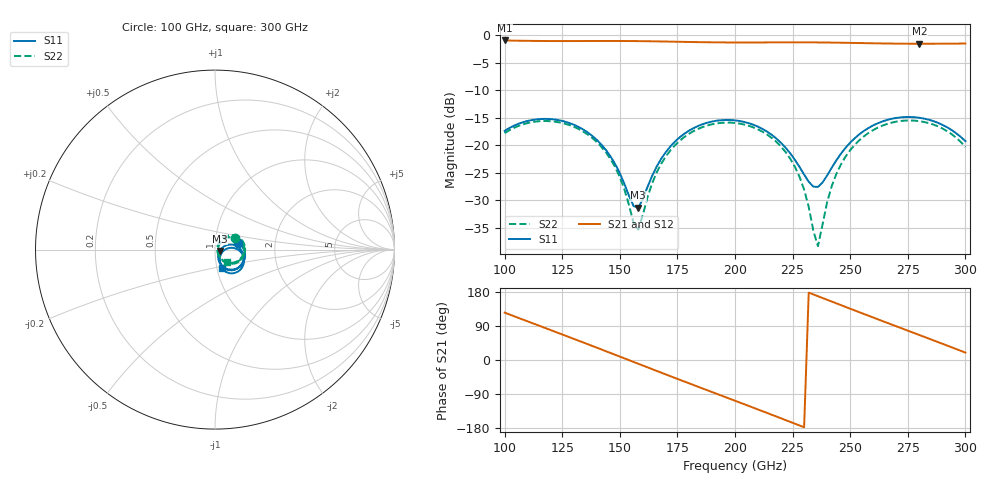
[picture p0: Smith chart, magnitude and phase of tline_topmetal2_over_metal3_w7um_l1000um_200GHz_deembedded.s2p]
! Created with skrf 2.0.1 (http://scikit-rf.org).
# GHz S DB R 50.0
!freq dBS11 angS11 dBS21 angS21 dBS12 angS12 dBS22 angS22
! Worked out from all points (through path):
!   101 points, 100 GHz to 300 GHz, reference 50 ohm
!   highest |S21| = -0.95 dB at 100 GHz (marker M1); lowest = -1.5 dB at 280 GHz (marker M2)
!   group delay of S21, straight-line fit = 6.47 ps
!   lowest |S11| = -31.3 dB at 158 GHz (marker M3), VSWR 1.06, Z = 52.7 - j0.797 ohm
!   |S11| at or under -10 dB: start of sweep to end of sweep
!   |S22| runs from -38.3 to -15.5 dB; largest |S21 - S12| = 9.9e-14
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100  -17.39 15.2  -0.95 125.0  -0.95 125.0  -17.79 30.9
116  -15.22 -17.1  -1.04 88.1  -1.04 88.1  -15.60 -0.1
124  -15.48 -33.4  -1.06 69.7  -1.06 69.7  -15.86 -15.9
134  -17.10 -53.0  -1.05 46.6  -1.05 46.6  -17.48 -35.3
148  -23.43 -71.5  -1.04 13.7  -1.04 13.7  -23.99 -56.7
152  -27.03 -66.9  -1.05 4.3  -1.05 4.3  -28.04 -55.6
156  -31.07 -40.4  -1.06 -5.1  -1.06 -5.1  -34.16 -30.0
158  -31.34 -16.2  -1.07 -9.9  -1.07 -9.9  -35.32 6.7
164  -25.59 19.4  -1.10 -24.0  -1.10 -24.0  -26.95 51.3
168  -22.43 20.4  -1.13 -33.4  -1.13 -33.4  -23.33 50.5
184  -16.49 -3.2  -1.25 -70.7  -1.25 -70.7  -17.02 24.1
200  -15.47 -33.4  -1.31 -107.5  -1.31 -107.5  -15.94 -7.7
212  -17.05 -54.6  -1.31 -135.3  -1.31 -135.3  -17.55 -31.7
222  -20.46 -66.9  -1.29 -158.6  -1.29 -158.6  -21.26 -50.4
230  -25.32 -60.0  -1.29 -177.5  -1.29 -177.5  -28.06 -58.1
234  -27.51 -39.0  -1.30 173.1  -1.30 173.1  -35.53 -38.7
236  -27.57 -24.3  -1.31 168.3  -1.31 168.3  -38.34 8.5
242  -24.07 3.2  -1.33 154.2  -1.33 154.2  -27.40 61.6
250  -19.52 4.8  -1.39 135.4  -1.39 135.4  -20.89 52.8
268  -15.19 -21.8  -1.51 93.6  -1.51 93.6  -15.89 17.5
280  -15.00 -42.6  -1.54 66.0  -1.54 66.0  -15.62 -7.3
300  -19.24 -69.4  -1.51 19.5  -1.51 19.5  -20.31 -47.7
